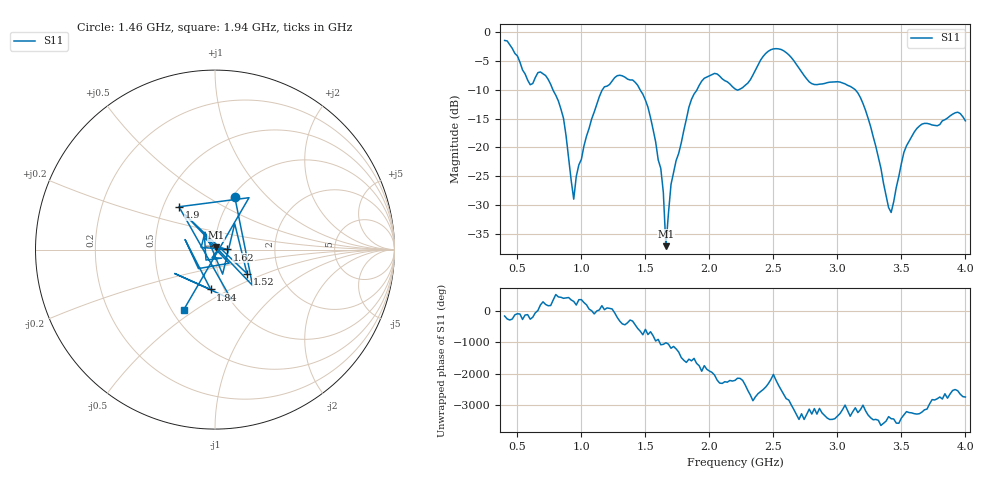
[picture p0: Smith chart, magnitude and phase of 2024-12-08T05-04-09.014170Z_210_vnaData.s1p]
!Created with skrf (http://scikit-rf.org).
# Hz S RI R 50.0
!freq ReS11 ImS11
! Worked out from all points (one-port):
!   181 points, 400 MHz to 4 GHz, reference 50 ohm
!   lowest |S11| = -37.1 dB at 1.66 GHz (marker M1), VSWR 1.03, Z = 50.6 + j1.27 ohm
!   |S11| at or under -10 dB: 777.5 MHz to 1.164 GHz (386.5 MHz wide, 39.8 % of centre); 1.459 GHz to 1.903 GHz (444 MHz wide, 26.4 % of centre); 3.14 GHz to end of sweep (the widest 3 of 4)
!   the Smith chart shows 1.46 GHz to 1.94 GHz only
!   S11 on the Smith chart (normalised r, x): 1.46 GHz: 1.03, +0.67; 1.52 GHz: 1.37, -0.39; 1.62 GHz: 1.14, +0.00; 1.84 GHz: 0.87, -0.40; 1.9 GHz: 0.60, +0.32; 1.94 GHz: 0.58, -0.45
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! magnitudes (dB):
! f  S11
! 400 MHz  -1.4
! 600 MHz  -9.1
! 720 MHz  -7.5
! 860 MHz  -14.9
! 940 MHz  -29.0
! 980 MHz  -23.0
! 1.14 GHz  -11.2
! 1.3 GHz  -7.5
! 1.46 GHz  -10.1
! 1.52 GHz  -13.0
! 1.62 GHz  -23.6
! 1.64 GHz  -27.8
! 1.66 GHz  -37.1
! 1.7 GHz  -26.4
! 1.76 GHz  -21.0
! 1.84 GHz  -13.0
! 1.9 GHz  -10.1
! 1.94 GHz  -8.5
! 2.2 GHz  -9.8
! 2.48 GHz  -3.0
! 2.66 GHz  -5.0
! 2.8 GHz  -8.9
! 3.1 GHz  -9.4
! 3.22 GHz  -13.6
! 3.42 GHz  -31.3
! 3.56 GHz  -18.9
! 3.66 GHz  -16.0
! 4 GHz  -15.4
